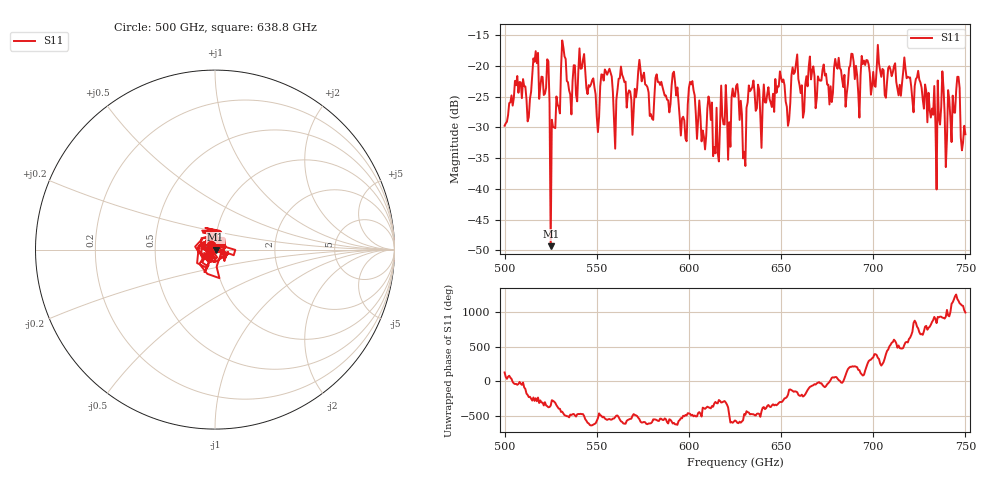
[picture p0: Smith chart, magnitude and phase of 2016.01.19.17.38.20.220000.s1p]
!Created with skrf (http://scikit-rf.org).
# GHz S RI R 50.0
!freq ReS11 ImS11
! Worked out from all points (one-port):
!   401 points, 500 GHz to 750 GHz, reference 50 ohm
!   lowest |S11| = -49.3 dB at 525 GHz (marker M1), VSWR 1.01, Z = 50.3 + j0.0433 ohm
!   |S11| at or under -10 dB: start of sweep to end of sweep
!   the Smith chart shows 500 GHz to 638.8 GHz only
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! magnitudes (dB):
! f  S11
! 500 GHz  -29.7
! 506.9 GHz  -21.7
! 513.1 GHz  -28.3
! 516.9 GHz  -17.6
! 523.1 GHz  -18.9
! 525 GHz  -49.3
! 526.2 GHz  -29.9
! 531.2 GHz  -15.9
! 535.6 GHz  -24.7
! 541.9 GHz  -20.4
! 550 GHz  -28.2
! 562.5 GHz  -22.0
! 593.8 GHz  -23.5
! 597.5 GHz  -28.9
! 601.9 GHz  -22.5
! 608.1 GHz  -31.5
! 611.2 GHz  -25.9
! 615 GHz  -26.8
! 625 GHz  -25.0
! 630 GHz  -34.0
! 633.8 GHz  -23.9
! 653.8 GHz  -29.7
! 656.2 GHz  -20.2
! 687.5 GHz  -19.9
! 718.8 GHz  -21.8
! 735 GHz  -22.4
! 745.6 GHz  -21.8
! 750 GHz  -31.1
